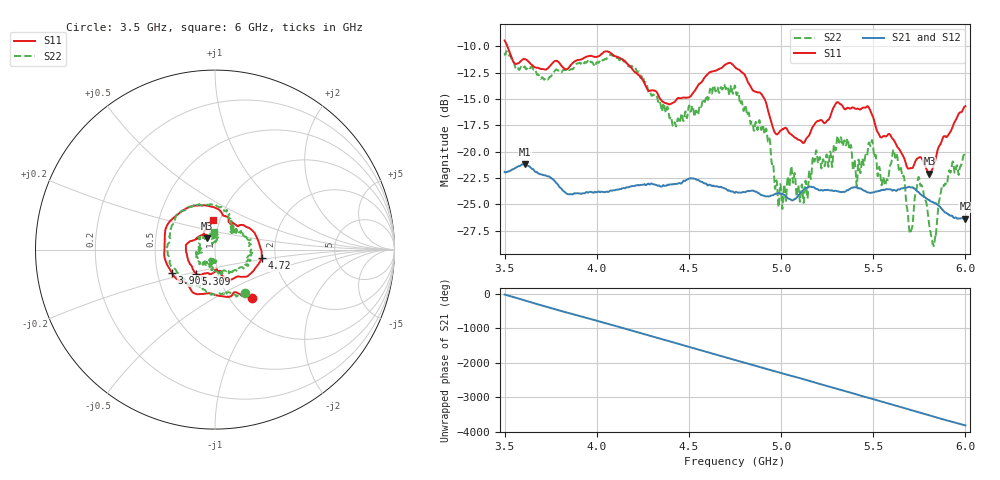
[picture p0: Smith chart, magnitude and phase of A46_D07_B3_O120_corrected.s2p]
! Created with skrf 1.9.0 (http://scikit-rf.org).
# Hz S RI R 50.0
!freq ReS11 ImS11 ReS21 ImS21 ReS12 ImS12 ReS22 ImS22
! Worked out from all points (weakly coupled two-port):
!   1601 points, 3.5 GHz to 6 GHz, reference 50 ohm
!   highest |S21| = -21.19 dB at 3.609 GHz (marker M1); lowest = -26.4 dB at 6 GHz (marker M2)
!   lowest |S11| = -22.1 dB at 5.805 GHz (marker M3), VSWR 1.17, Z = 45.2 + j5.75 ohm
!   |S11| at or under -10 dB: 3.515 GHz to end of sweep
!   |S22| runs from -29.0 to -10.5 dB; largest |S21 - S12| = 0.00096
!   S11 on the Smith chart (normalised r, x): 3.5 GHz: 1.26, -0.76; 3.909 GHz: 0.60, -0.17; 4.72 GHz: 1.69, -0.17; 5.309 GHz: 0.78, -0.22; 6 GHz: 0.93, +0.31
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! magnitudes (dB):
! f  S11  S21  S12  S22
! 3.5 GHz  -9.5  -21.9  -21.9  -10.6
! 3.609 GHz  -11.2  -21.2  -21.2  -11.9
! 3.909 GHz  -11.3  -24.0  -23.9  -11.6
! 3.917 GHz  -11.3  -24.0  -24.0  -11.7
! 4.141 GHz  -11.3  -23.5  -23.5  -11.3
! 4.334 GHz  -14.7  -23.2  -23.2  -15.3
! 4.422 GHz  -15.3  -23.1  -23.1  -17.2
! 4.72 GHz  -11.6  -23.7  -23.7  -14.6
! 4.75 GHz  -12.0  -23.9  -23.8  -13.7
! 4.928 GHz  -16.0  -24.2  -24.2  -19.0
! 4.995 GHz  -18.0  -24.0  -23.9  -23.1
! 5.167 GHz  -17.8  -23.4  -23.3  -21.6
! 5.309 GHz  -15.3  -23.8  -23.7  -18.6
! 5.402 GHz  -15.9  -23.4  -23.4  -21.2
! 5.584 GHz  -18.3  -23.6  -23.5  -22.2
! 5.622 GHz  -19.2  -23.7  -23.7  -20.5
! 5.703 GHz  -21.6  -23.4  -23.4  -27.6
! 5.755 GHz  -20.5  -24.0  -24.0  -23.1
! 5.805 GHz  -22.1  -24.6  -24.6  -27.2
! 5.83 GHz  -21.3  -24.9  -24.8  -28.9
! 5.875 GHz  -18.8  -25.5  -25.4  -23.2
! 6 GHz  -15.7  -26.4  -26.3  -20.1
